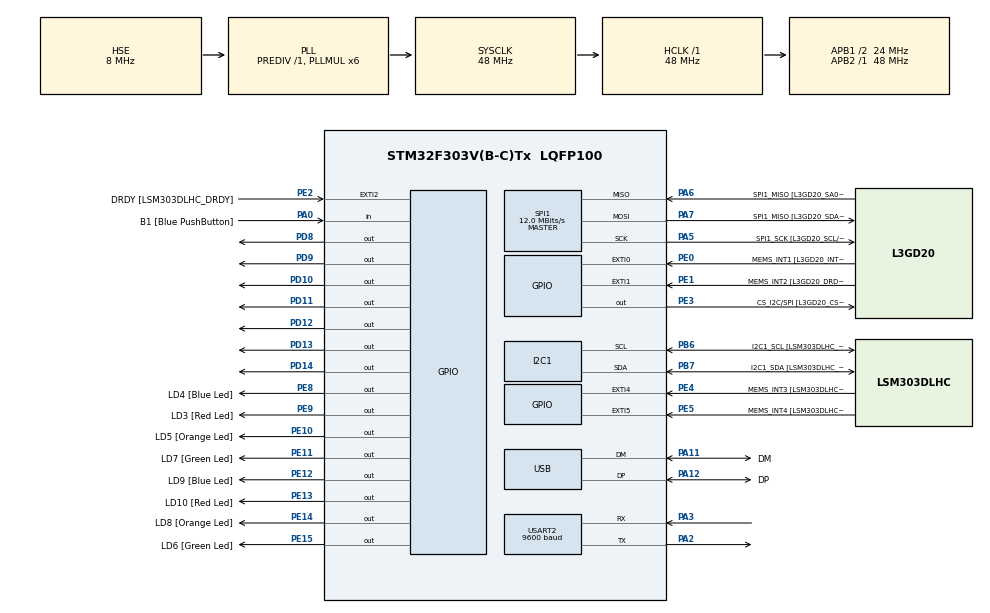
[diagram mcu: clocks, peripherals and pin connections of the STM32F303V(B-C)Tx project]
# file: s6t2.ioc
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I2C1.Timing=0x2000090E
I2C1.Timing-I2C=0x2000090E
Mcu.Family=STM32F3
Mcu.Name=STM32F303V(B-C)Tx
Mcu.Package=LQFP100
NVIC.PriorityGroup=NVIC_PRIORITYGROUP_4
NVIC.USART2_IRQn=true\:1\:0\:true\:false\:true\:true
PA0.GPIO_Label=B1 [Blue PushButton]
PA0.Signal=GPIO_Input
PA11.GPIO_Label=DM
PA11.Mode=Device
PA11.Signal=USB_DM
PA12.GPIO_Label=DP
PA12.Mode=Device
PA12.Signal=USB_DP
PA13.GPIO_Label=SWDIO
PA13.Mode=Serial_Wire
PA13.Signal=SYS_JTMS-SWDIO
PA14.GPIO_Label=SWCLK
PA14.Mode=Serial_Wire
PA14.Signal=SYS_JTCK-SWCLK
PA2.Mode=Asynchronous
PA2.Signal=USART2_TX
PA3.Mode=Asynchronous
PA3.Signal=USART2_RX
PA5.GPIO_Label=SPI1_SCK [L3GD20_SCL/SPC]
PA5.Mode=Full_Duplex_Master
PA5.Signal=SPI1_SCK
PA6.GPIO_Label=SPI1_MISO [L3GD20_SA0/SDO]
PA6.Mode=Full_Duplex_Master
PA6.Signal=SPI1_MISO
PA7.GPIO_Label=SPI1_MISO [L3GD20_SDA/SDI/SDO]
PA7.Mode=Full_Duplex_Master
PA7.Signal=SPI1_MOSI
PB3.GPIO_Label=SWO
PB3.Signal=SYS_JTDO-TRACESWO
PB6.GPIO_Label=I2C1_SCL [LSM303DLHC_SCL]
PB6.Mode=I2C
PB6.Signal=I2C1_SCL
PB7.GPIO_Label=I2C1_SDA [LSM303DLHC_SDA]
PB7.Mode=I2C
PB7.Signal=I2C1_SDA
PC14-OSC32_IN.GPIO_Label=OSC32_IN
PC14-OSC32_IN.Signal=RCC_OSC32_IN
PC15-OSC32_OUT.GPIO_Label=OSC32_OUT
PC15-OSC32_OUT.Signal=RCC_OSC32_OUT
PD10.Signal=GPIO_Output
PD11.Signal=GPIO_Output
PD12.Signal=GPIO_Output
PD13.Signal=GPIO_Output
PD14.Signal=GPIO_Output
PD8.Signal=GPIO_Output
PD9.Signal=GPIO_Output
PE0.GPIO_Label=MEMS_INT1 [L3GD20_INT1]
PE0.GPIO_ModeDefaultEXTI=GPIO_MODE_EVT_RISING
PE0.Signal=GPXTI0
PE1.GPIO_Label=MEMS_INT2 [L3GD20_DRDY/INT2]
PE1.GPIO_ModeDefaultEXTI=GPIO_MODE_EVT_RISING
PE1.Signal=GPXTI1
PE10.GPIO_Label=LD5 [Orange Led]
PE10.Signal=GPIO_Output
PE11.GPIO_Label=LD7 [Green Led]
PE11.Signal=GPIO_Output
PE12.GPIO_Label=LD9 [Blue Led]
PE12.Signal=GPIO_Output
PE13.GPIO_Label=LD10 [Red Led]
PE13.Signal=GPIO_Output
PE14.GPIO_Label=LD8 [Orange Led]
PE14.Signal=GPIO_Output
PE15.GPIO_Label=LD6 [Green Led]
PE15.Signal=GPIO_Output
PE2.GPIO_Label=DRDY [LSM303DLHC_DRDY]
PE2.GPIO_ModeDefaultEXTI=GPIO_MODE_EVT_RISING
PE2.Signal=GPXTI2
PE3.GPIO_Label=CS_I2C/SPI [L3GD20_CS_I2C/SPI]
PE3.Signal=GPIO_Output
PE4.GPIO_Label=MEMS_INT3 [LSM303DLHC_INT1]
PE4.GPIO_ModeDefaultEXTI=GPIO_MODE_EVT_RISING
PE4.Signal=GPXTI4
PE5.GPIO_Label=MEMS_INT4 [LSM303DLHC_INT2]
PE5.GPIO_ModeDefaultEXTI=GPIO_MODE_EVT_RISING
PE5.Signal=GPXTI5
PE8.GPIO_Label=LD4 [Blue Led]
PE8.Signal=GPIO_Output
PE9.GPIO_Label=LD3 [Red Led]
PE9.Signal=GPIO_Output
PF0-OSC_IN.GPIO_Label=OSC_IN
PF0-OSC_IN.Mode=HSE-External-Clock-Source
PF0-OSC_IN.Signal=RCC_OSC_IN
PF1-OSC_OUT.GPIO_Label=OSC_OUT
PF1-OSC_OUT.Signal=RCC_OSC_OUT
ProjectManager.HeapSize=0x200
ProjectManager.StackSize=0x400
ProjectManager.TargetToolchain=MDK-ARM V5
RCC.AHBFreq_Value=48000000
RCC.APB1CLKDivider=RCC_HCLK_DIV2
RCC.APB1Freq_Value=24000000
RCC.APB1TimFreq_Value=48000000
RCC.APB2Freq_Value=48000000
RCC.APB2TimFreq_Value=48000000
RCC.CortexFreq_Value=48000000
RCC.HCLKFreq_Value=48000000
RCC.HSE_VALUE=8000000
RCC.HSI_VALUE=8000000
RCC.LSE_VALUE=32768
RCC.PLLMUL=RCC_PLL_MUL6
RCC.SYSCLKFreq_VALUE=48000000
RCC.SYSCLKSourceVirtual=RCC_SYSCLKSOURCE_PLLCLK
RCC.USBFreq_Value=48000000
SPI1.BaudRatePrescaler=SPI_BAUDRATEPRESCALER_4
SPI1.BaudRatePrescaler-Full_Duplex_Master=SPI_BAUDRATEPRESCALER_2
SPI1.CalculateBaudRate=12.0 MBits/s
SPI1.CalculateBaudRate-Full_Duplex_Master=24.0 MBits/s
SPI1.Direction=SPI_DIRECTION_2LINES
SPI1.Mode=SPI_MODE_MASTER
SPI1.Mode-Full_Duplex_Master=SPI_MODE_MASTER
SPI1.VirtualType=VM_MASTER
USART2.BaudRate=9600
USART2.VirtualMode-Asynchronous=VM_ASYNC
board=STM32F3DISCOVERY

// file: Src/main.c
/**
  ******************************************************************************
  * @file           : main.c
  * @brief          : Main program body
  ******************************************************************************
  ** This notice applies to any and all portions of this file
  * that are not between comment pairs USER CODE BEGIN and
  * USER CODE END. Other portions of this file, whether
  * inserted by the user or by software development tools
  * are owned by their respective copyright owners.
  *
  * COPYRIGHT(c) 2020 STMicroelectronics
  *
  * Redistribution and use in source and binary forms, with or without modification,
  * are permitted provided that the following conditions are met:
  *   1. Redistributions of source code must retain the above copyright notice,
  *      this list of conditions and the following disclaimer.
  *   2. Redistributions in binary form must reproduce the above copyright notice,
  *      this list of conditions and the following disclaimer in the documentation
  *      and/or other materials provided with the distribution.
  *   3. Neither the name of STMicroelectronics nor the names of its contributors
  *      may be used to endorse or promote products derived from this software
  *      without specific prior written permission.
  *
  * THIS SOFTWARE IS PROVIDED BY THE COPYRIGHT HOLDERS AND CONTRIBUTORS "AS IS"
  * AND ANY EXPRESS OR IMPLIED WARRANTIES, INCLUDING, BUT NOT LIMITED TO, THE
  * IMPLIED WARRANTIES OF MERCHANTABILITY AND FITNESS FOR A PARTICULAR PURPOSE ARE
  * DISCLAIMED. IN NO EVENT SHALL THE COPYRIGHT HOLDER OR CONTRIBUTORS BE LIABLE
  * FOR ANY DIRECT, INDIRECT, INCIDENTAL, SPECIAL, EXEMPLARY, OR CONSEQUENTIAL
  * DAMAGES (INCLUDING, BUT NOT LIMITED TO, PROCUREMENT OF SUBSTITUTE GOODS OR
  * SERVICES; LOSS OF USE, DATA, OR PROFITS; OR BUSINESS INTERRUPTION) HOWEVER
  * CAUSED AND ON ANY THEORY OF LIABILITY, WHETHER IN CONTRACT, STRICT LIABILITY,
  * OR TORT (INCLUDING NEGLIGENCE OR OTHERWISE) ARISING IN ANY WAY OUT OF THE USE
  * OF THIS SOFTWARE, EVEN IF ADVISED OF THE POSSIBILITY OF SUCH DAMAGE.
  *
  ******************************************************************************
  */
#include "main.h"
#include "stm32f3xx_hal.h"

/* USER CODE BEGIN Includes */
#include "LiquidCrystal.h"
/* USER CODE END Includes */

I2C_HandleTypeDef hi2c1;

SPI_HandleTypeDef hspi1;

UART_HandleTypeDef huart2;

PCD_HandleTypeDef hpcd_USB_FS;

/* USER CODE BEGIN PV */
/* Private variables ---------------------------------------------------------*/

/* USER CODE END PV */

void SystemClock_Config(void);
static void MX_GPIO_Init(void);
static void MX_I2C1_Init(void);
static void MX_SPI1_Init(void);
static void MX_USB_PCD_Init(void);
static void MX_USART2_UART_Init(void);

/* USER CODE BEGIN PFP */
/* Private function prototypes -----------------------------------------------*/

/* USER CODE END PFP */

/* USER CODE BEGIN 0 */
unsigned char data[1];
unsigned char buffer[100]="";
int r1;
int r2;
char s[20];
char co[3][3]={'\0'};
int end=0;
int turn=0;
char tn='\0';
/* USER CODE END 0 */

int main(void)
{

  /* MCU Configuration----------------------------------------------------------*/

  /* Reset of all peripherals, Initializes the Flash interface and the Systick. */
  HAL_Init();

  /* Configure the system clock */
  SystemClock_Config();

  /* Initialize all configured peripherals */
  MX_GPIO_Init();
  MX_I2C1_Init();
  MX_SPI1_Init();
  MX_USB_PCD_Init();
  MX_USART2_UART_Init();
  /* USER CODE BEGIN 2 */
LiquidCrystal(GPIOD,GPIO_PIN_8,GPIO_PIN_9,GPIO_PIN_10,GPIO_PIN_11,GPIO_PIN_12,GPIO_PIN_13,GPIO_PIN_14);
begin(20,4);
setCursor(3,0);
				 print("|");
				 setCursor(3,1);
				 print("|");
				 setCursor(3,2);
				 print("|");

				 setCursor(0,3);
				 print("-");
				 setCursor(1,3);
				 print("-");
				 setCursor(2,3);
				 print("-");
HAL_UART_Receive_IT(&huart2,data,sizeof(data));
  /* USER CODE END 2 */

  /* Infinite loop */
  while (1)
  {

  }

}

void SystemClock_Config(void)
{

  RCC_OscInitTypeDef RCC_OscInitStruct;
  RCC_ClkInitTypeDef RCC_ClkInitStruct;
  RCC_PeriphCLKInitTypeDef PeriphClkInit;

    /**Initializes the CPU, AHB and APB busses clocks
    */
  RCC_OscInitStruct.OscillatorType = RCC_OSCILLATORTYPE_HSI|RCC_OSCILLATORTYPE_HSE;
  RCC_OscInitStruct.HSEState = RCC_HSE_BYPASS;
  RCC_OscInitStruct.HSEPredivValue = RCC_HSE_PREDIV_DIV1;
  RCC_OscInitStruct.HSIState = RCC_HSI_ON;
  RCC_OscInitStruct.HSICalibrationValue = 16;
  RCC_OscInitStruct.PLL.PLLState = RCC_PLL_ON;
  RCC_OscInitStruct.PLL.PLLSource = RCC_PLLSOURCE_HSE;
  RCC_OscInitStruct.PLL.PLLMUL = RCC_PLL_MUL6;
  if (HAL_RCC_OscConfig(&RCC_OscInitStruct) != HAL_OK)
  {
    _Error_Handler(__FILE__, __LINE__);
  }

    /**Initializes the CPU, AHB and APB busses clocks
    */
  RCC_ClkInitStruct.ClockType = RCC_CLOCKTYPE_HCLK|RCC_CLOCKTYPE_SYSCLK
                              |RCC_CLOCKTYPE_PCLK1|RCC_CLOCKTYPE_PCLK2;
  RCC_ClkInitStruct.SYSCLKSource = RCC_SYSCLKSOURCE_PLLCLK;
  RCC_ClkInitStruct.AHBCLKDivider = RCC_SYSCLK_DIV1;
  RCC_ClkInitStruct.APB1CLKDivider = RCC_HCLK_DIV2;
  RCC_ClkInitStruct.APB2CLKDivider = RCC_HCLK_DIV1;

  if (HAL_RCC_ClockConfig(&RCC_ClkInitStruct, FLASH_LATENCY_1) != HAL_OK)
  {
    _Error_Handler(__FILE__, __LINE__);
  }

  PeriphClkInit.PeriphClockSelection = RCC_PERIPHCLK_USB|RCC_PERIPHCLK_USART2
                              |RCC_PERIPHCLK_I2C1;
  PeriphClkInit.Usart2ClockSelection = RCC_USART2CLKSOURCE_PCLK1;
  PeriphClkInit.I2c1ClockSelection = RCC_I2C1CLKSOURCE_HSI;
  PeriphClkInit.USBClockSelection = RCC_USBCLKSOURCE_PLL;
  if (HAL_RCCEx_PeriphCLKConfig(&PeriphClkInit) != HAL_OK)
  {
    _Error_Handler(__FILE__, __LINE__);
  }

    /**Configure the Systick interrupt time
    */
  HAL_SYSTICK_Config(HAL_RCC_GetHCLKFreq()/1000);

    /**Configure the Systick
    */
  HAL_SYSTICK_CLKSourceConfig(SYSTICK_CLKSOURCE_HCLK);

  /* SysTick_IRQn interrupt configuration */
  HAL_NVIC_SetPriority(SysTick_IRQn, 0, 0);
}

/* I2C1 init function */
static void MX_I2C1_Init(void)
{

  hi2c1.Instance = I2C1;
  hi2c1.Init.Timing = 0x2000090E;
  hi2c1.Init.OwnAddress1 = 0;
  hi2c1.Init.AddressingMode = I2C_ADDRESSINGMODE_7BIT;
  hi2c1.Init.DualAddressMode = I2C_DUALADDRESS_DISABLE;
  hi2c1.Init.OwnAddress2 = 0;
  hi2c1.Init.OwnAddress2Masks = I2C_OA2_NOMASK;
  hi2c1.Init.GeneralCallMode = I2C_GENERALCALL_DISABLE;
  hi2c1.Init.NoStretchMode = I2C_NOSTRETCH_DISABLE;
  if (HAL_I2C_Init(&hi2c1) != HAL_OK)
  {
    _Error_Handler(__FILE__, __LINE__);
  }

    /**Configure Analogue filter
    */
  if (HAL_I2CEx_ConfigAnalogFilter(&hi2c1, I2C_ANALOGFILTER_ENABLE) != HAL_OK)
  {
    _Error_Handler(__FILE__, __LINE__);
  }

    /**Configure Digital filter
    */
  if (HAL_I2CEx_ConfigDigitalFilter(&hi2c1, 0) != HAL_OK)
  {
    _Error_Handler(__FILE__, __LINE__);
  }

}

/* SPI1 init function */
static void MX_SPI1_Init(void)
{

  /* SPI1 parameter configuration*/
  hspi1.Instance = SPI1;
  hspi1.Init.Mode = SPI_MODE_MASTER;
  hspi1.Init.Direction = SPI_DIRECTION_2LINES;
  hspi1.Init.DataSize = SPI_DATASIZE_4BIT;
  hspi1.Init.CLKPolarity = SPI_POLARITY_LOW;
  hspi1.Init.CLKPhase = SPI_PHASE_1EDGE;
  hspi1.Init.NSS = SPI_NSS_SOFT;
  hspi1.Init.BaudRatePrescaler = SPI_BAUDRATEPRESCALER_4;
  hspi1.Init.FirstBit = SPI_FIRSTBIT_MSB;
  hspi1.Init.TIMode = SPI_TIMODE_DISABLE;
  hspi1.Init.CRCCalculation = SPI_CRCCALCULATION_DISABLE;
  hspi1.Init.CRCPolynomial = 7;
  hspi1.Init.CRCLength = SPI_CRC_LENGTH_DATASIZE;
  hspi1.Init.NSSPMode = SPI_NSS_PULSE_ENABLE;
  if (HAL_SPI_Init(&hspi1) != HAL_OK)
  {
    _Error_Handler(__FILE__, __LINE__);
  }

}

/* USART2 init function */
static void MX_USART2_UART_Init(void)
{

  huart2.Instance = USART2;
  huart2.Init.BaudRate = 9600;
  huart2.Init.WordLength = UART_WORDLENGTH_8B;
  huart2.Init.StopBits = UART_STOPBITS_1;
  huart2.Init.Parity = UART_PARITY_NONE;
  huart2.Init.Mode = UART_MODE_TX_RX;
  huart2.Init.HwFlowCtl = UART_HWCONTROL_NONE;
  huart2.Init.OverSampling = UART_OVERSAMPLING_16;
  huart2.Init.OneBitSampling = UART_ONE_BIT_SAMPLE_DISABLE;
  huart2.AdvancedInit.AdvFeatureInit = UART_ADVFEATURE_NO_INIT;
  if (HAL_UART_Init(&huart2) != HAL_OK)
  {
    _Error_Handler(__FILE__, __LINE__);
  }

}

/* USB init function */
static void MX_USB_PCD_Init(void)
{

  hpcd_USB_FS.Instance = USB;
  hpcd_USB_FS.Init.dev_endpoints = 8;
  hpcd_USB_FS.Init.speed = PCD_SPEED_FULL;
  hpcd_USB_FS.Init.ep0_mps = DEP0CTL_MPS_64;
  hpcd_USB_FS.Init.phy_itface = PCD_PHY_EMBEDDED;
  hpcd_USB_FS.Init.low_power_enable = DISABLE;
  hpcd_USB_FS.Init.battery_charging_enable = DISABLE;
  if (HAL_PCD_Init(&hpcd_USB_FS) != HAL_OK)
  {
    _Error_Handler(__FILE__, __LINE__);
  }

}

/** Configure pins as
        * Analog
        * Input
        * Output
        * EVENT_OUT
        * EXTI
        * Free pins are configured automatically as Analog (this feature is enabled through
        * the Code Generation settings)
*/
static void MX_GPIO_Init(void)
{

  GPIO_InitTypeDef GPIO_InitStruct;

  /* GPIO Ports Clock Enable */
  __HAL_RCC_GPIOE_CLK_ENABLE();
  __HAL_RCC_GPIOC_CLK_ENABLE();
  __HAL_RCC_GPIOF_CLK_ENABLE();
  __HAL_RCC_GPIOA_CLK_ENABLE();
  __HAL_RCC_GPIOB_CLK_ENABLE();
  __HAL_RCC_GPIOD_CLK_ENABLE();

  /*Configure GPIO pin Output Level */
  HAL_GPIO_WritePin(GPIOE, CS_I2C_SPI_Pin|LD4_Pin|LD3_Pin|LD5_Pin
                          |LD7_Pin|LD9_Pin|LD10_Pin|LD8_Pin
                          |LD6_Pin, GPIO_PIN_RESET);

  /*Configure GPIO pin Output Level */
  HAL_GPIO_WritePin(GPIOD, GPIO_PIN_8|GPIO_PIN_9|GPIO_PIN_10|GPIO_PIN_11
                          |GPIO_PIN_12|GPIO_PIN_13|GPIO_PIN_14, GPIO_PIN_RESET);

  /*Configure GPIO pins : DRDY_Pin MEMS_INT3_Pin MEMS_INT4_Pin MEMS_INT1_Pin
                           MEMS_INT2_Pin */
  GPIO_InitStruct.Pin = DRDY_Pin|MEMS_INT3_Pin|MEMS_INT4_Pin|MEMS_INT1_Pin
                          |MEMS_INT2_Pin;
  GPIO_InitStruct.Mode = GPIO_MODE_EVT_RISING;
  GPIO_InitStruct.Pull = GPIO_NOPULL;
  HAL_GPIO_Init(GPIOE, &GPIO_InitStruct);

  /*Configure GPIO pins : CS_I2C_SPI_Pin LD4_Pin LD3_Pin LD5_Pin
                           LD7_Pin LD9_Pin LD10_Pin LD8_Pin
                           LD6_Pin */
  GPIO_InitStruct.Pin = CS_I2C_SPI_Pin|LD4_Pin|LD3_Pin|LD5_Pin
                          |LD7_Pin|LD9_Pin|LD10_Pin|LD8_Pin
                          |LD6_Pin;
  GPIO_InitStruct.Mode = GPIO_MODE_OUTPUT_PP;
  GPIO_InitStruct.Pull = GPIO_NOPULL;
  GPIO_InitStruct.Speed = GPIO_SPEED_FREQ_LOW;
  HAL_GPIO_Init(GPIOE, &GPIO_InitStruct);

  /*Configure GPIO pins : PE6 PE7 */
  GPIO_InitStruct.Pin = GPIO_PIN_6|GPIO_PIN_7;
  GPIO_InitStruct.Mode = GPIO_MODE_ANALOG;
  GPIO_InitStruct.Pull = GPIO_NOPULL;
  HAL_GPIO_Init(GPIOE, &GPIO_InitStruct);

  /*Configure GPIO pins : PC13 PC0 PC1 PC2
                           PC3 PC4 PC5 PC6
                           PC7 PC8 PC9 PC10
                           PC11 PC12 */
  GPIO_InitStruct.Pin = GPIO_PIN_13|GPIO_PIN_0|GPIO_PIN_1|GPIO_PIN_2
                          |GPIO_PIN_3|GPIO_PIN_4|GPIO_PIN_5|GPIO_PIN_6
                          |GPIO_PIN_7|GPIO_PIN_8|GPIO_PIN_9|GPIO_PIN_10
                          |GPIO_PIN_11|GPIO_PIN_12;
  GPIO_InitStruct.Mode = GPIO_MODE_ANALOG;
  GPIO_InitStruct.Pull = GPIO_NOPULL;
  HAL_GPIO_Init(GPIOC, &GPIO_InitStruct);

  /*Configure GPIO pins : PF9 PF10 PF2 PF4
                           PF6 */
  GPIO_InitStruct.Pin = GPIO_PIN_9|GPIO_PIN_10|GPIO_PIN_2|GPIO_PIN_4
                          |GPIO_PIN_6;
  GPIO_InitStruct.Mode = GPIO_MODE_ANALOG;
  GPIO_InitStruct.Pull = GPIO_NOPULL;
  HAL_GPIO_Init(GPIOF, &GPIO_InitStruct);

  /*Configure GPIO pin : B1_Pin */
  GPIO_InitStruct.Pin = B1_Pin;
  GPIO_InitStruct.Mode = GPIO_MODE_INPUT;
  GPIO_InitStruct.Pull = GPIO_NOPULL;
  HAL_GPIO_Init(B1_GPIO_Port, &GPIO_InitStruct);

  /*Configure GPIO pins : PA1 PA4 PA8 PA9
                           PA10 PA15 */
  GPIO_InitStruct.Pin = GPIO_PIN_1|GPIO_PIN_4|GPIO_PIN_8|GPIO_PIN_9
                          |GPIO_PIN_10|GPIO_PIN_15;
  GPIO_InitStruct.Mode = GPIO_MODE_ANALOG;
  GPIO_InitStruct.Pull = GPIO_NOPULL;
  HAL_GPIO_Init(GPIOA, &GPIO_InitStruct);

  /*Configure GPIO pins : PB0 PB1 PB2 PB10
                           PB11 PB12 PB13 PB14
                           PB15 PB4 PB5 PB8
                           PB9 */
  GPIO_InitStruct.Pin = GPIO_PIN_0|GPIO_PIN_1|GPIO_PIN_2|GPIO_PIN_10
                          |GPIO_PIN_11|GPIO_PIN_12|GPIO_PIN_13|GPIO_PIN_14
                          |GPIO_PIN_15|GPIO_PIN_4|GPIO_PIN_5|GPIO_PIN_8
                          |GPIO_PIN_9;
  GPIO_InitStruct.Mode = GPIO_MODE_ANALOG;
  GPIO_InitStruct.Pull = GPIO_NOPULL;
  HAL_GPIO_Init(GPIOB, &GPIO_InitStruct);

  /*Configure GPIO pins : PD8 PD9 PD10 PD11
                           PD12 PD13 PD14 */
  GPIO_InitStruct.Pin = GPIO_PIN_8|GPIO_PIN_9|GPIO_PIN_10|GPIO_PIN_11
                          |GPIO_PIN_12|GPIO_PIN_13|GPIO_PIN_14;
  GPIO_InitStruct.Mode = GPIO_MODE_OUTPUT_PP;
  GPIO_InitStruct.Pull = GPIO_NOPULL;
  GPIO_InitStruct.Speed = GPIO_SPEED_FREQ_LOW;
  HAL_GPIO_Init(GPIOD, &GPIO_InitStruct);

  /*Configure GPIO pins : PD15 PD0 PD1 PD2
                           PD3 PD4 PD5 PD6
                           PD7 */
  GPIO_InitStruct.Pin = GPIO_PIN_15|GPIO_PIN_0|GPIO_PIN_1|GPIO_PIN_2
                          |GPIO_PIN_3|GPIO_PIN_4|GPIO_PIN_5|GPIO_PIN_6
                          |GPIO_PIN_7;
  GPIO_InitStruct.Mode = GPIO_MODE_ANALOG;
  GPIO_InitStruct.Pull = GPIO_NOPULL;
  HAL_GPIO_Init(GPIOD, &GPIO_InitStruct);

}

void _Error_Handler(char *file, int line)
{
  while(1)
  {
  }
}

/************************ (C) COPYRIGHT STMicroelectronics *****END OF FILE****/
